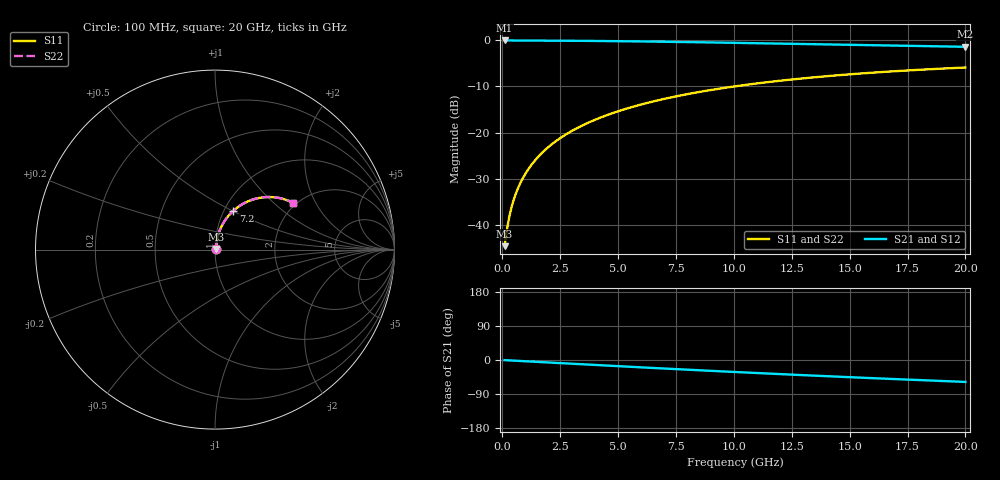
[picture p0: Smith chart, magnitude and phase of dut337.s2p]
! Touchstone file exported from HFSS 2026.1.0
!  File:  C:/ffzhzh/LocalFiles/Ansys_Project_Files/temp_train_TMRDL_337_1783003756_55676.aedt
!  Generated:  10:51:00 PM Jul  2, 2026
!  Design:  TMRDL
!  Project:  temp_train_TMRDL_337_1783003756_55676
! Variables:
!  h_bsmrdl = 2um
!  h_ox = 20um
!  h_rdl = 5um
!  h_sub = 80um
!  h_tmrdl = 2.8um
!  h_tsv = 80um
!  h_via = 3um
!  l_bsmrdl = 300um
!  l_sub = 1274.22um
!  l_tmrdl = 874.22um
!  m_sub = 200um
!  pitch = 59.27um
!  r_tsv = 6um
!  s_tmrdl = 10um
!  w_bsmrdl = 18um
!  w_sub = 500um
!  w_tmrdl = 25.85um
!  x_tsv_center1 = 887.145um
!  x_tsv_center2 = 1205.145um
!  x_tsv_center3 = 2105.215um
!  x_tsv_center4 = 2423.215um
!  x_tsv_center5 = 3323.285um
!  x_tsv_center6 = 3641.285um
# GHz S MA R 50.000000
! Terminal data exported
! Port[1] = TM_RDL1_1_T1
! Port[2] = TM_RDL1_1_T2
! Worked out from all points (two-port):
!   200 points, 100 MHz to 20 GHz, reference 50 ohm
!   highest |S21| = -0.04 dB at 100 MHz (marker M1); lowest = -1.4 dB at 20 GHz (marker M2)
!   |S21| within 3 dB of the highest: start of sweep to end of sweep
!   lowest |S11| = -44.5 dB at 100 MHz (marker M3), VSWR 1.01, Z = 50.5 + j0.386 ohm
!   |S11| at or under -10 dB: start of sweep to 10 GHz
!   |S22| runs from -44.5 to -5.9 dB; largest |S21 - S12| = 5.3e-15
!   S11 on the Smith chart (normalised r, x): 100 MHz: 1.01, +0.01; 7.2 GHz: 1.10, +0.51; 20 GHz: 1.92, +1.35
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0.1  0.005923 40.2  0.9955 -0.3  0.9955 -0.3  0.005923 40.2
! Gamma 0 0 0 0
! Port Impedance 50 0 50 0
0.2  0.00894 57.6  0.9953 -0.7  0.9953 -0.7  0.00894 57.6
0.3  0.01228 65.3  0.995 -1.0  0.995 -1.0  0.01228 65.3
0.4  0.01567 69.5  0.9947 -1.4  0.9947 -1.4  0.01567 69.5
0.5  0.01905 72.1  0.9945 -1.7  0.9945 -1.7  0.01905 72.1
0.6  0.02244 73.9  0.9943 -2.0  0.9943 -2.0  0.02244 73.9
0.8  0.02922 76.1  0.9939 -2.7  0.9939 -2.7  0.02922 76.1
1.1  0.03945 77.8  0.9934 -3.7  0.9934 -3.7  0.03945 77.8
1.3  0.0463 78.3  0.993 -4.3  0.993 -4.3  0.0463 78.3
1.6  0.05659 78.6  0.9924 -5.3  0.9924 -5.3  0.05659 78.6
2.1  0.07374 78.2  0.9911 -6.9  0.9911 -6.9  0.07373 78.2
2.7  0.09421 77.2  0.9892 -8.9  0.9892 -8.9  0.09421 77.2
3.5  0.1212 75.3  0.9859 -11.5  0.9859 -11.5  0.1212 75.3
4.2  0.1444 73.5  0.9825 -13.7  0.9825 -13.7  0.1444 73.5
5  0.1705 71.2  0.978 -16.3  0.978 -16.3  0.1705 71.2
6.8  0.2265 66.0  0.9657 -21.9  0.9657 -21.9  0.2265 66.0
7.2  0.2385 64.8  0.9627 -23.2  0.9627 -23.2  0.2385 64.8
8.6  0.2787 60.7  0.9512 -27.4  0.9512 -27.4  0.2786 60.7
10.1  0.3188 56.4  0.938 -31.8  0.938 -31.8  0.3188 56.4
13.4  0.3961 47.3  0.9072 -41.1  0.9072 -41.1  0.3961 47.4
16.7  0.4586 38.8  0.877 -49.8  0.877 -49.8  0.4586 38.9
20  0.5074 30.8  0.8499 -57.9  0.8499 -57.9  0.5074 30.9
